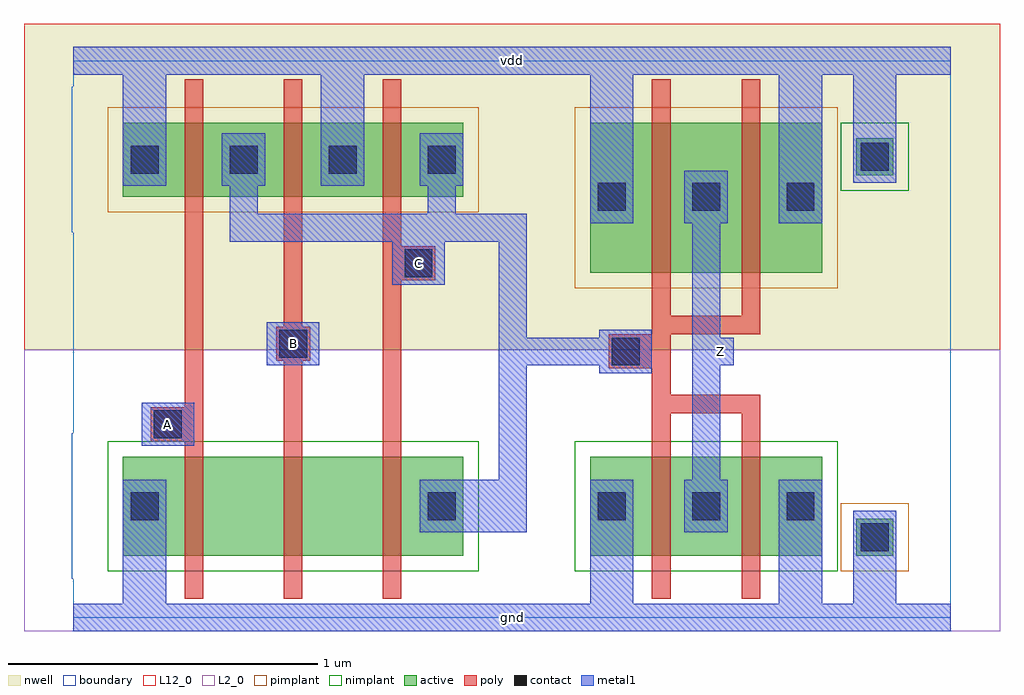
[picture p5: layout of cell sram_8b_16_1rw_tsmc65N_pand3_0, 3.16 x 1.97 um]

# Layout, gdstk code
import gdstk
lib = gdstk.Library(unit=1e-6, precision=1e-09)
def R(c, l, rs):  # rectangles x0, y0, x1, y1
    for r in rs: c.add(gdstk.rectangle(r[:2], r[2:], *l))
def A(c, l, x, y, w, h, nx, ny, dx, dy):  # array of equal rectangles
    R(c, l, [(x+i*dx, y+j*dy, x+i*dx+w, y+j*dy+h) for i in range(nx) for j in range(ny)])
L2_0 = (2, 0)
nwell = (3, 0)
active = (6, 0)
L12_0 = (12, 0)
poly = (17, 0)
pimplant = (25, 0)
nimplant = (26, 0)
contact = (30, 0)
metal1 = (31, 0)
boundary = (108, 0)

sram_8b_16_1rw_tsmc65n_c = lib.new_cell('sram_8b_16_1rw_tsmc65N_contact_11')
R(sram_8b_16_1rw_tsmc65n_c, nwell, [(-0.165,-0.15,0.305,0.32)])
R(sram_8b_16_1rw_tsmc65n_c, active, [(0.01,0.025,0.13,0.145)])
R(sram_8b_16_1rw_tsmc65n_c, pimplant, [(-0.04,-0.025,0.18,0.195)])
R(sram_8b_16_1rw_tsmc65n_c, contact, [(0.025,0.04,0.115,0.13)])
R(sram_8b_16_1rw_tsmc65n_c, metal1, [(0,0,0.14,0.17)])
R(sram_8b_16_1rw_tsmc65n_c, boundary, [(-0.165,-0.15,0.305,0.32)])

sram_8b_16_1rw_tsmc65n_p = lib.new_cell('sram_8b_16_1rw_tsmc65N_pmos_m1_w0_242_sm1_dm1')
R(sram_8b_16_1rw_tsmc65n_p, nwell, [(-0.16,-0.16,0.62,0.4)])
R(sram_8b_16_1rw_tsmc65n_p, active, [(0,0,0.46,0.24)])
R(sram_8b_16_1rw_tsmc65n_p, L12_0, [(-0.16,-0.16,0.62,0.4)])
R(sram_8b_16_1rw_tsmc65n_p, poly, [(0.2,-0.14,0.26,0.38), (0.2,-0.14,0.26,0.38)])
R(sram_8b_16_1rw_tsmc65n_p, pimplant, [(-0.05,-0.05,0.51,0.29)])
R(sram_8b_16_1rw_tsmc65n_p, metal1, [(0,0.035,0.14,0.205), (0.32,0.035,0.46,0.205)])
R(sram_8b_16_1rw_tsmc65n_p, boundary, [(-0.16,-0.16,0.62,0.4)])
sram_8b_16_1rw_tsmc65n_p.add(gdstk.Reference(sram_8b_16_1rw_tsmc65n_c, (0,0.035)))
sram_8b_16_1rw_tsmc65n_p.add(gdstk.Reference(sram_8b_16_1rw_tsmc65n_c, (0.32,0.035)))
sram_8b_16_1rw_tsmc65n_p.add(gdstk.Label('G', (0.23,0.12), layer=17, texttype=0))
sram_8b_16_1rw_tsmc65n_p.add(gdstk.Label('S', (0.07,0.12), layer=31, texttype=0))
sram_8b_16_1rw_tsmc65n_p.add(gdstk.Label('D', (0.39,0.12), layer=31, texttype=0))

c_sram_8b_16_1rw_tsmc65n_c = lib.new_cell('sram_8b_16_1rw_tsmc65N_contact_10')
R(c_sram_8b_16_1rw_tsmc65n_c, L2_0, [(-0.165,-0.15,0.305,0.32)])
R(c_sram_8b_16_1rw_tsmc65n_c, active, [(0.01,0.025,0.13,0.145)])
R(c_sram_8b_16_1rw_tsmc65n_c, nimplant, [(-0.04,-0.025,0.18,0.195)])
R(c_sram_8b_16_1rw_tsmc65n_c, contact, [(0.025,0.04,0.115,0.13)])
R(c_sram_8b_16_1rw_tsmc65n_c, metal1, [(0,0,0.14,0.17)])
R(c_sram_8b_16_1rw_tsmc65n_c, boundary, [(-0.165,-0.15,0.305,0.32)])

sram_8b_16_1rw_tsmc65n_n = lib.new_cell('sram_8b_16_1rw_tsmc65N_nmos_m1_w0_320_sm1_dactive')
R(sram_8b_16_1rw_tsmc65n_n, L2_0, [(-0.16,-0.16,0.62,0.48)])
R(sram_8b_16_1rw_tsmc65n_n, active, [(0,0,0.46,0.32), (0.35,0.12,0.43,0.2)])
R(sram_8b_16_1rw_tsmc65n_n, L12_0, [(-0.16,-0.16,0.62,0.48)])
R(sram_8b_16_1rw_tsmc65n_n, poly, [(0.2,-0.14,0.26,0.46), (0.2,-0.14,0.26,0.46)])
R(sram_8b_16_1rw_tsmc65n_n, nimplant, [(-0.05,-0.05,0.51,0.37)])
R(sram_8b_16_1rw_tsmc65n_n, metal1, [(0,0.075,0.14,0.245)])
R(sram_8b_16_1rw_tsmc65n_n, boundary, [(-0.16,-0.16,0.62,0.48)])
sram_8b_16_1rw_tsmc65n_n.add(gdstk.Reference(c_sram_8b_16_1rw_tsmc65n_c, (0,0.075)))
sram_8b_16_1rw_tsmc65n_n.add(gdstk.Label('G', (0.23,0.16), layer=17, texttype=0))
sram_8b_16_1rw_tsmc65n_n.add(gdstk.Label('S', (0.07,0.16), layer=31, texttype=0))
sram_8b_16_1rw_tsmc65n_n.add(gdstk.Label('D', (0.39,0.16), layer=6, texttype=0))

c_sram_8b_16_1rw_tsmc65n_n = lib.new_cell('sram_8b_16_1rw_tsmc65N_nmos_m1_w0_320_sactive_dactive')
R(c_sram_8b_16_1rw_tsmc65n_n, L2_0, [(-0.16,-0.16,0.62,0.48)])
R(c_sram_8b_16_1rw_tsmc65n_n, active, [(0,0,0.46,0.32), (0.03,0.12,0.11,0.2), (0.35,0.12,0.43,0.2)])
R(c_sram_8b_16_1rw_tsmc65n_n, L12_0, [(-0.16,-0.16,0.62,0.48)])
R(c_sram_8b_16_1rw_tsmc65n_n, poly, [(0.2,-0.14,0.26,0.46), (0.2,-0.14,0.26,0.46)])
R(c_sram_8b_16_1rw_tsmc65n_n, nimplant, [(-0.05,-0.05,0.51,0.37)])
R(c_sram_8b_16_1rw_tsmc65n_n, boundary, [(-0.16,-0.16,0.62,0.48)])
c_sram_8b_16_1rw_tsmc65n_n.add(gdstk.Label('G', (0.23,0.16), layer=17, texttype=0))
c_sram_8b_16_1rw_tsmc65n_n.add(gdstk.Label('S', (0.07,0.16), layer=6, texttype=0))
c_sram_8b_16_1rw_tsmc65n_n.add(gdstk.Label('D', (0.39,0.16), layer=6, texttype=0))

c_sram_8b_16_1rw_tsmc65n_n_ = lib.new_cell('sram_8b_16_1rw_tsmc65N_nmos_m1_w0_320_sactive_dm1')
R(c_sram_8b_16_1rw_tsmc65n_n_, L2_0, [(-0.16,-0.16,0.62,0.48)])
R(c_sram_8b_16_1rw_tsmc65n_n_, active, [(0,0,0.46,0.32), (0.03,0.12,0.11,0.2)])
R(c_sram_8b_16_1rw_tsmc65n_n_, L12_0, [(-0.16,-0.16,0.62,0.48)])
R(c_sram_8b_16_1rw_tsmc65n_n_, poly, [(0.2,-0.14,0.26,0.46), (0.2,-0.14,0.26,0.46)])
R(c_sram_8b_16_1rw_tsmc65n_n_, nimplant, [(-0.05,-0.05,0.51,0.37)])
R(c_sram_8b_16_1rw_tsmc65n_n_, metal1, [(0.32,0.075,0.46,0.245)])
R(c_sram_8b_16_1rw_tsmc65n_n_, boundary, [(-0.16,-0.16,0.62,0.48)])
c_sram_8b_16_1rw_tsmc65n_n_.add(gdstk.Reference(c_sram_8b_16_1rw_tsmc65n_c, (0.32,0.075)))
c_sram_8b_16_1rw_tsmc65n_n_.add(gdstk.Label('G', (0.23,0.16), layer=17, texttype=0))
c_sram_8b_16_1rw_tsmc65n_n_.add(gdstk.Label('S', (0.07,0.16), layer=6, texttype=0))
c_sram_8b_16_1rw_tsmc65n_n_.add(gdstk.Label('D', (0.39,0.16), layer=31, texttype=0))

c_sram_8b_16_1rw_tsmc65n_c_ = lib.new_cell('sram_8b_16_1rw_tsmc65N_contact_14')
R(c_sram_8b_16_1rw_tsmc65n_c_, poly, [(0.03,0.015,0.14,0.125)])
R(c_sram_8b_16_1rw_tsmc65n_c_, contact, [(0.04,0.025,0.13,0.115)])
R(c_sram_8b_16_1rw_tsmc65n_c_, metal1, [(0,0,0.17,0.14)])
R(c_sram_8b_16_1rw_tsmc65n_c_, boundary, [(0,0,0.17,0.14)])

c_sram_8b_16_1rw_tsmc65n_p = lib.new_cell('sram_8b_16_1rw_tsmc65N_pnand3_0')
R(c_sram_8b_16_1rw_tsmc65n_p, L2_0, [(-0.16,-0.045,1.67,0.865)])
R(c_sram_8b_16_1rw_tsmc65n_p, nwell, [(-0.16,0.865,1.67,1.92)])
R(c_sram_8b_16_1rw_tsmc65n_p, L12_0, [(-0.16,-0.045,1.67,0.865), (-0.16,0.865,1.67,1.92)])
A(c_sram_8b_16_1rw_tsmc65n_p, poly, 0.36, 0.66, 0.06, 0.56, 3, 1, 0.32, 0)
R(c_sram_8b_16_1rw_tsmc65n_p, poly, [(0.305,0.57,0.36,0.68), (0.68,0.83,0.71,0.94), (1,1.09,1.115,1.2)])
R(c_sram_8b_16_1rw_tsmc65n_p, metal1, [(0,-0.045,1.51,0.045), (0.16,-0.045,0.3,0.275), (1.19,0.275,1.42,0.445), (1.375,0.275,1.465,1.26), (0.22,0.555,0.39,0.695), (0.625,0.815,0.795,0.955), (1.03,1.075,1.2,1.215), (0.505,1.215,0.595,1.305), (0.55,1.215,1.42,1.305), (1.145,1.215,1.235,1.305), (1.19,1.215,1.42,1.305), (1.375,1.215,1.465,1.305), (0.505,1.26,0.595,1.48), (1.145,1.26,1.235,1.48), (0.16,1.395,0.3,1.845), (0.8,1.395,0.94,1.845), (0,1.755,1.51,1.845)])
R(c_sram_8b_16_1rw_tsmc65n_p, boundary, [(0,0,1.51,1.8), (0,0,1.51,1.8)])
c_sram_8b_16_1rw_tsmc65n_p.add(gdstk.Reference(sram_8b_16_1rw_tsmc65n_p, (0.16,1.36)))
c_sram_8b_16_1rw_tsmc65n_p.add(gdstk.Reference(sram_8b_16_1rw_tsmc65n_p, (0.48,1.36)))
c_sram_8b_16_1rw_tsmc65n_p.add(gdstk.Reference(sram_8b_16_1rw_tsmc65n_p, (0.8,1.36)))
c_sram_8b_16_1rw_tsmc65n_p.add(gdstk.Reference(sram_8b_16_1rw_tsmc65n_n, (0.16,0.2)))
c_sram_8b_16_1rw_tsmc65n_p.add(gdstk.Reference(c_sram_8b_16_1rw_tsmc65n_n, (0.48,0.2)))
c_sram_8b_16_1rw_tsmc65n_p.add(gdstk.Reference(c_sram_8b_16_1rw_tsmc65n_n_, (0.8,0.2)))
c_sram_8b_16_1rw_tsmc65n_p.add(gdstk.Reference(c_sram_8b_16_1rw_tsmc65n_c_, (0.22,0.555)))
c_sram_8b_16_1rw_tsmc65n_p.add(gdstk.Reference(c_sram_8b_16_1rw_tsmc65n_c_, (0.625,0.815)))
c_sram_8b_16_1rw_tsmc65n_p.add(gdstk.Reference(c_sram_8b_16_1rw_tsmc65n_c_, (1.03,1.075)))
c_sram_8b_16_1rw_tsmc65n_p.add(gdstk.Label('A', (0.305,0.625), layer=31, texttype=0))
c_sram_8b_16_1rw_tsmc65n_p.add(gdstk.Label('B', (0.71,0.885), layer=31, texttype=0))
c_sram_8b_16_1rw_tsmc65n_p.add(gdstk.Label('C', (1.115,1.145), layer=31, texttype=0))
c_sram_8b_16_1rw_tsmc65n_p.add(gdstk.Label('Z', (1.42,1.26), layer=31, texttype=0))
c_sram_8b_16_1rw_tsmc65n_p.add(gdstk.Label('gnd', (0.755,0), layer=31, texttype=0))
c_sram_8b_16_1rw_tsmc65n_p.add(gdstk.Label('vdd', (0.755,1.8), layer=31, texttype=0))

c_sram_8b_16_1rw_tsmc65n_p_ = lib.new_cell('sram_8b_16_1rw_tsmc65N_pmos_m2_w0_485_sm1_dm1_da_p')
R(c_sram_8b_16_1rw_tsmc65n_p_, nwell, [(-0.16,-0.16,0.91,0.645)])
R(c_sram_8b_16_1rw_tsmc65n_p_, active, [(0,0,0.75,0.485)])
R(c_sram_8b_16_1rw_tsmc65n_p_, L12_0, [(-0.16,-0.16,0.91,0.645)])
R(c_sram_8b_16_1rw_tsmc65n_p_, poly, [(0.2,-0.2,0.55,-0.14), (0.2,-0.14,0.26,0.625), (0.49,-0.14,0.55,0.625)])
R(c_sram_8b_16_1rw_tsmc65n_p_, pimplant, [(-0.05,-0.05,0.8,0.535)])
A(c_sram_8b_16_1rw_tsmc65n_p_, metal1, 0, 0.16, 0.14, 0.17, 3, 1, 0.305, 0)
R(c_sram_8b_16_1rw_tsmc65n_p_, boundary, [(-0.16,-0.2,0.91,0.645)])
c_sram_8b_16_1rw_tsmc65n_p_.add(gdstk.Reference(sram_8b_16_1rw_tsmc65n_c, (0,0.16)))
c_sram_8b_16_1rw_tsmc65n_p_.add(gdstk.Reference(sram_8b_16_1rw_tsmc65n_c, (0.305,0.16)))
c_sram_8b_16_1rw_tsmc65n_p_.add(gdstk.Reference(sram_8b_16_1rw_tsmc65n_c, (0.61,0.16)))
c_sram_8b_16_1rw_tsmc65n_p_.add(gdstk.Label('G', (0.375,-0.17), layer=17, texttype=0))
c_sram_8b_16_1rw_tsmc65n_p_.add(gdstk.Label('S', (0.07,0.245), layer=31, texttype=0))
c_sram_8b_16_1rw_tsmc65n_p_.add(gdstk.Label('S', (0.68,0.245), layer=31, texttype=0))
c_sram_8b_16_1rw_tsmc65n_p_.add(gdstk.Label('D', (0.375,0.245), layer=31, texttype=0))

c_sram_8b_16_1rw_tsmc65n_n__ = lib.new_cell('sram_8b_16_1rw_tsmc65N_nmos_m2_w0_320_sm1_dm1_da_p')
R(c_sram_8b_16_1rw_tsmc65n_n__, L2_0, [(-0.16,-0.16,0.91,0.48)])
R(c_sram_8b_16_1rw_tsmc65n_n__, active, [(0,0,0.75,0.32)])
R(c_sram_8b_16_1rw_tsmc65n_n__, L12_0, [(-0.16,-0.16,0.91,0.48)])
R(c_sram_8b_16_1rw_tsmc65n_n__, poly, [(0.2,-0.14,0.26,0.46), (0.49,-0.14,0.55,0.46), (0.2,0.46,0.55,0.52)])
R(c_sram_8b_16_1rw_tsmc65n_n__, nimplant, [(-0.05,-0.05,0.8,0.37)])
A(c_sram_8b_16_1rw_tsmc65n_n__, metal1, 0, 0.075, 0.14, 0.17, 3, 1, 0.305, 0)
R(c_sram_8b_16_1rw_tsmc65n_n__, boundary, [(-0.16,-0.16,0.91,0.52)])
c_sram_8b_16_1rw_tsmc65n_n__.add(gdstk.Reference(c_sram_8b_16_1rw_tsmc65n_c, (0,0.075)))
c_sram_8b_16_1rw_tsmc65n_n__.add(gdstk.Reference(c_sram_8b_16_1rw_tsmc65n_c, (0.305,0.075)))
c_sram_8b_16_1rw_tsmc65n_n__.add(gdstk.Reference(c_sram_8b_16_1rw_tsmc65n_c, (0.61,0.075)))
c_sram_8b_16_1rw_tsmc65n_n__.add(gdstk.Label('G', (0.375,0.49), layer=17, texttype=0))
c_sram_8b_16_1rw_tsmc65n_n__.add(gdstk.Label('S', (0.68,0.16), layer=31, texttype=0))
c_sram_8b_16_1rw_tsmc65n_n__.add(gdstk.Label('S', (0.07,0.16), layer=31, texttype=0))
c_sram_8b_16_1rw_tsmc65n_n__.add(gdstk.Label('D', (0.375,0.16), layer=31, texttype=0))

c_sram_8b_16_1rw_tsmc65n_c__ = lib.new_cell('sram_8b_16_1rw_tsmc65N_contact_12')
R(c_sram_8b_16_1rw_tsmc65n_c__, nwell, [(-0.165,-0.15,0.305,0.32)])
R(c_sram_8b_16_1rw_tsmc65n_c__, active, [(0.01,0.025,0.13,0.145)])
R(c_sram_8b_16_1rw_tsmc65n_c__, nimplant, [(-0.04,-0.025,0.18,0.195)])
R(c_sram_8b_16_1rw_tsmc65n_c__, contact, [(0.025,0.04,0.115,0.13)])
R(c_sram_8b_16_1rw_tsmc65n_c__, metal1, [(0,0,0.14,0.17)])
R(c_sram_8b_16_1rw_tsmc65n_c__, boundary, [(-0.165,-0.15,0.305,0.32)])

c_sram_8b_16_1rw_tsmc65n_c___ = lib.new_cell('sram_8b_16_1rw_tsmc65N_contact_13')
R(c_sram_8b_16_1rw_tsmc65n_c___, L2_0, [(-0.165,-0.15,0.305,0.32)])
R(c_sram_8b_16_1rw_tsmc65n_c___, active, [(0.01,0.025,0.13,0.145)])
R(c_sram_8b_16_1rw_tsmc65n_c___, pimplant, [(-0.04,-0.025,0.18,0.195)])
R(c_sram_8b_16_1rw_tsmc65n_c___, contact, [(0.025,0.04,0.115,0.13)])
R(c_sram_8b_16_1rw_tsmc65n_c___, metal1, [(0,0,0.14,0.17)])
R(c_sram_8b_16_1rw_tsmc65n_c___, boundary, [(-0.165,-0.15,0.305,0.32)])

c_sram_8b_16_1rw_tsmc65n_p__ = lib.new_cell('sram_8b_16_1rw_tsmc65N_pinv_10')
R(c_sram_8b_16_1rw_tsmc65n_p__, L2_0, [(-0.16,-0.045,1.485,0.865)])
R(c_sram_8b_16_1rw_tsmc65n_p__, nwell, [(-0.16,0.865,1.485,1.92)])
R(c_sram_8b_16_1rw_tsmc65n_p__, L12_0, [(-0.16,-0.045,1.485,0.865), (-0.16,0.865,1.485,1.92)])
R(c_sram_8b_16_1rw_tsmc65n_p__, poly, [(0.36,0.72,0.42,0.915), (0.275,0.805,0.36,0.915)])
R(c_sram_8b_16_1rw_tsmc65n_p__, metal1, [(0,-0.045,1.325,0.045), (0.16,-0.045,0.3,0.275), (0.77,-0.045,0.91,0.275), (1.01,0,1.15,0.26), (0.49,0.275,0.58,1.445), (0.19,0.79,0.36,0.93), (0.535,0.815,0.625,0.905), (0.16,1.275,0.3,1.845), (0.77,1.275,0.91,1.845), (1.01,1.49,1.15,1.8), (0,1.755,1.325,1.845)])
R(c_sram_8b_16_1rw_tsmc65n_p__, boundary, [(0,0,1.325,1.8), (0,0,1.325,1.8)])
c_sram_8b_16_1rw_tsmc65n_p__.add(gdstk.Reference(c_sram_8b_16_1rw_tsmc65n_p_, (0.16,1.115)))
c_sram_8b_16_1rw_tsmc65n_p__.add(gdstk.Reference(c_sram_8b_16_1rw_tsmc65n_n__, (0.16,0.2)))
c_sram_8b_16_1rw_tsmc65n_p__.add(gdstk.Reference(c_sram_8b_16_1rw_tsmc65n_c__, (1.01,1.405)))
c_sram_8b_16_1rw_tsmc65n_p__.add(gdstk.Reference(c_sram_8b_16_1rw_tsmc65n_c___, (1.01,0.175)))
c_sram_8b_16_1rw_tsmc65n_p__.add(gdstk.Reference(c_sram_8b_16_1rw_tsmc65n_c_, (0.19,0.79)))
c_sram_8b_16_1rw_tsmc65n_p__.add(gdstk.Label('A', (0.275,0.86), layer=31, texttype=0))
c_sram_8b_16_1rw_tsmc65n_p__.add(gdstk.Label('Z', (0.58,0.86), layer=31, texttype=0))
c_sram_8b_16_1rw_tsmc65n_p__.add(gdstk.Label('gnd', (0.662,0), layer=31, texttype=0))
c_sram_8b_16_1rw_tsmc65n_p__.add(gdstk.Label('vdd', (0.662,1.8), layer=31, texttype=0))

c_sram_8b_16_1rw_tsmc65n_p___ = lib.new_cell('sram_8b_16_1rw_tsmc65N_pdriver_2')
R(c_sram_8b_16_1rw_tsmc65n_p___, L2_0, [(-0.16,-0.045,1.485,0.865)])
R(c_sram_8b_16_1rw_tsmc65n_p___, nwell, [(-0.16,0.865,1.485,1.92)])
R(c_sram_8b_16_1rw_tsmc65n_p___, L12_0, [(-0.16,-0.045,1.485,0.865), (-0.16,0.865,1.485,1.92)])
R(c_sram_8b_16_1rw_tsmc65n_p___, metal1, [(0,-0.045,1.325,0.045), (0.19,0.79,0.36,0.93), (0.535,0.815,0.625,0.905), (0,1.755,1.325,1.845)])
R(c_sram_8b_16_1rw_tsmc65n_p___, boundary, [(0,0,1.325,1.8), (0,0,1.325,1.8)])
c_sram_8b_16_1rw_tsmc65n_p___.add(gdstk.Reference(c_sram_8b_16_1rw_tsmc65n_p__, (0,0)))
c_sram_8b_16_1rw_tsmc65n_p___.add(gdstk.Label('Z', (0.58,0.86), layer=31, texttype=0))
c_sram_8b_16_1rw_tsmc65n_p___.add(gdstk.Label('A', (0.275,0.86), layer=31, texttype=0))
c_sram_8b_16_1rw_tsmc65n_p___.add(gdstk.Label('gnd', (0.662,0), layer=31, texttype=0))
c_sram_8b_16_1rw_tsmc65n_p___.add(gdstk.Label('vdd', (0.662,1.8), layer=31, texttype=0))

c_sram_8b_16_1rw_tsmc65n_p____ = lib.new_cell('sram_8b_16_1rw_tsmc65N_pand3_0')
R(c_sram_8b_16_1rw_tsmc65n_p____, metal1, [(0,-0.045,2.835,0.045), (0.22,0.555,0.39,0.695), (0.625,0.815,0.795,0.955), (1.375,0.815,1.465,0.905), (1.42,0.815,1.785,0.905), (2.045,0.815,2.135,0.905), (1.375,0.86,1.465,1.26), (1.03,1.075,1.2,1.215), (0,1.755,2.835,1.845)])
R(c_sram_8b_16_1rw_tsmc65n_p____, boundary, [(0,0,2.835,1.8), (0,0,2.835,1.8)])
c_sram_8b_16_1rw_tsmc65n_p____.add(gdstk.Reference(c_sram_8b_16_1rw_tsmc65n_p, (0,0)))
c_sram_8b_16_1rw_tsmc65n_p____.add(gdstk.Reference(c_sram_8b_16_1rw_tsmc65n_p___, (1.51,0)))
c_sram_8b_16_1rw_tsmc65n_p____.add(gdstk.Label('Z', (2.09,0.86), layer=31, texttype=0))
c_sram_8b_16_1rw_tsmc65n_p____.add(gdstk.Label('A', (0.305,0.625), layer=31, texttype=0))
c_sram_8b_16_1rw_tsmc65n_p____.add(gdstk.Label('B', (0.71,0.885), layer=31, texttype=0))
c_sram_8b_16_1rw_tsmc65n_p____.add(gdstk.Label('C', (1.115,1.145), layer=31, texttype=0))
c_sram_8b_16_1rw_tsmc65n_p____.add(gdstk.Label('gnd', (1.418,0), layer=31, texttype=0))
c_sram_8b_16_1rw_tsmc65n_p____.add(gdstk.Label('vdd', (1.418,1.8), layer=31, texttype=0))

lib.write_gds('sram_8b_16_1rw_tsmc65N_pand3_0.gds')
